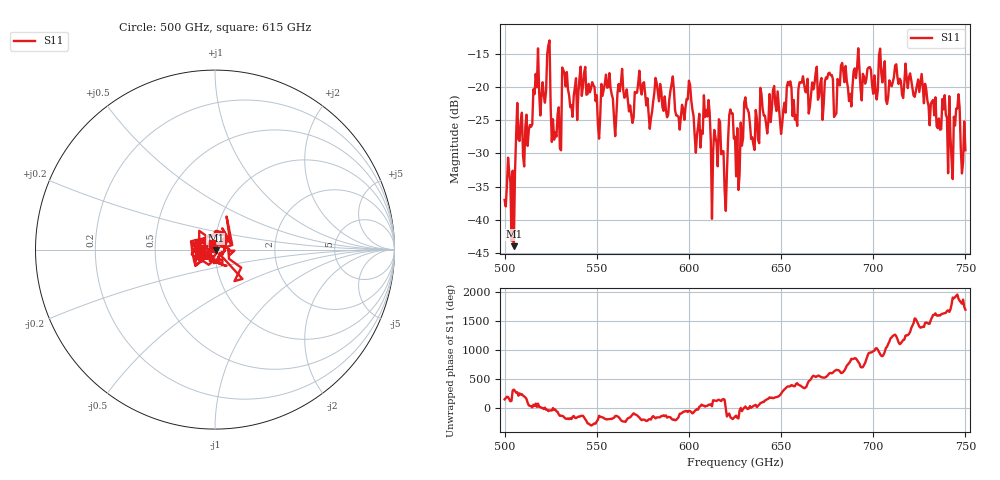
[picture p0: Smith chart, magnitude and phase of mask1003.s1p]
!Created with skrf (http://scikit-rf.org).
# GHz S MA R 50.0
!freq magS11 angS11
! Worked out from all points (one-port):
!   401 points, 500 GHz to 750 GHz, reference 50 ohm
!   lowest |S11| = -44.0 dB at 505 GHz (marker M1), VSWR 1.01, Z = 50.4 - j0.475 ohm
!   |S11| at or under -10 dB: start of sweep to end of sweep
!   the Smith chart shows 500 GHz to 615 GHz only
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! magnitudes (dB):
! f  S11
! 500 GHz  -37.0
! 505 GHz  -44.0
! 507.5 GHz  -27.9
! 513.8 GHz  -25.7
! 516.9 GHz  -18.0
! 523.8 GHz  -13.7
! 526.9 GHz  -27.9
! 531.2 GHz  -17.1
! 532.5 GHz  -18.0
! 550.6 GHz  -25.7
! 562.5 GHz  -20.7
! 568.8 GHz  -24.2
! 590.6 GHz  -19.5
! 593.8 GHz  -24.3
! 609.4 GHz  -23.5
! 619.4 GHz  -35.6
! 622.5 GHz  -23.4
! 625 GHz  -27.5
! 656.2 GHz  -24.4
! 680 GHz  -24.0
! 683.8 GHz  -17.7
! 687.5 GHz  -21.0
! 691.2 GHz  -17.1
! 718.8 GHz  -20.2
! 738.8 GHz  -21.2
! 741.9 GHz  -27.4
! 745.6 GHz  -23.3
! 750 GHz  -29.5
